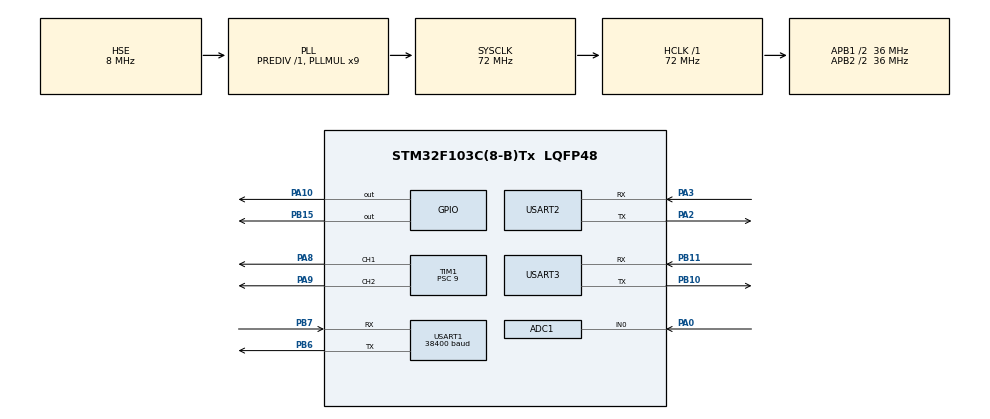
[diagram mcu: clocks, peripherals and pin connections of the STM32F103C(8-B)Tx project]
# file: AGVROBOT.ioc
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ADC1.Channel-2\#ChannelRegularConversion=ADC_CHANNEL_0
ADC1.ContinuousConvMode=ENABLE
ADC1.NbrOfConversionFlag=1
ADC1.Rank-2\#ChannelRegularConversion=1
ADC1.SamplingTime-2\#ChannelRegularConversion=ADC_SAMPLETIME_239CYCLES_5
ADC1.master=1
Dma.ADC1.3.Direction=DMA_PERIPH_TO_MEMORY
Dma.ADC1.3.Instance=DMA1_Channel1
Dma.ADC1.3.MemDataAlignment=DMA_MDATAALIGN_HALFWORD
Dma.ADC1.3.MemInc=DMA_MINC_ENABLE
Dma.ADC1.3.Mode=DMA_CIRCULAR
Dma.ADC1.3.PeriphDataAlignment=DMA_PDATAALIGN_HALFWORD
Dma.ADC1.3.PeriphInc=DMA_PINC_DISABLE
Dma.ADC1.3.Priority=DMA_PRIORITY_LOW
Dma.Request0=USART1_RX
Dma.Request1=USART2_RX
Dma.Request2=USART3_RX
Dma.Request3=ADC1
Dma.USART1_RX.0.Direction=DMA_PERIPH_TO_MEMORY
Dma.USART1_RX.0.Instance=DMA1_Channel5
Dma.USART1_RX.0.MemDataAlignment=DMA_MDATAALIGN_BYTE
Dma.USART1_RX.0.MemInc=DMA_MINC_ENABLE
Dma.USART1_RX.0.Mode=DMA_CIRCULAR
Dma.USART1_RX.0.PeriphDataAlignment=DMA_PDATAALIGN_BYTE
Dma.USART1_RX.0.PeriphInc=DMA_PINC_DISABLE
Dma.USART1_RX.0.Priority=DMA_PRIORITY_LOW
Dma.USART2_RX.1.Direction=DMA_PERIPH_TO_MEMORY
Dma.USART2_RX.1.Instance=DMA1_Channel6
Dma.USART2_RX.1.MemDataAlignment=DMA_MDATAALIGN_BYTE
Dma.USART2_RX.1.MemInc=DMA_MINC_ENABLE
Dma.USART2_RX.1.Mode=DMA_CIRCULAR
Dma.USART2_RX.1.PeriphDataAlignment=DMA_PDATAALIGN_BYTE
Dma.USART2_RX.1.PeriphInc=DMA_PINC_DISABLE
Dma.USART2_RX.1.Priority=DMA_PRIORITY_LOW
Dma.USART3_RX.2.Direction=DMA_PERIPH_TO_MEMORY
Dma.USART3_RX.2.Instance=DMA1_Channel3
Dma.USART3_RX.2.MemDataAlignment=DMA_MDATAALIGN_BYTE
Dma.USART3_RX.2.MemInc=DMA_MINC_ENABLE
Dma.USART3_RX.2.Mode=DMA_CIRCULAR
Dma.USART3_RX.2.PeriphDataAlignment=DMA_PDATAALIGN_BYTE
Dma.USART3_RX.2.PeriphInc=DMA_PINC_DISABLE
Dma.USART3_RX.2.Priority=DMA_PRIORITY_LOW
Mcu.Family=STM32F1
Mcu.Name=STM32F103C(8-B)Tx
Mcu.Package=LQFP48
NVIC.DMA1_Channel1_IRQn=true\:0\:0\:false\:false\:true\:false\:true
NVIC.DMA1_Channel3_IRQn=true\:0\:0\:false\:false\:true\:false\:true
NVIC.DMA1_Channel5_IRQn=true\:0\:0\:false\:false\:true\:false\:true
NVIC.DMA1_Channel6_IRQn=true\:0\:0\:false\:false\:true\:false\:true
NVIC.PriorityGroup=NVIC_PRIORITYGROUP_4
NVIC.TIM2_IRQn=true\:0\:0\:false\:false\:true\:true\:true
NVIC.TIM3_IRQn=true\:0\:0\:false\:false\:true\:true\:true
NVIC.USART1_IRQn=true\:0\:0\:false\:false\:true\:true\:true
NVIC.USART2_IRQn=true\:0\:0\:false\:false\:true\:true\:true
NVIC.USART3_IRQn=true\:0\:0\:false\:false\:true\:true\:true
PA0-WKUP.Signal=ADCx_IN0
PA10.GPIO_ModeDefaultOutputPP=GPIO_MODE_OUTPUT_OD
PA10.GPIO_PuPd=GPIO_NOPULL
PA10.GPIO_Speed=GPIO_SPEED_FREQ_HIGH
PA10.PinState=GPIO_PIN_RESET
PA10.Signal=GPIO_Output
PA13.Mode=Serial_Wire
PA13.Signal=SYS_JTMS-SWDIO
PA14.Mode=Serial_Wire
PA14.Signal=SYS_JTCK-SWCLK
PA2.Mode=Asynchronous
PA2.Signal=USART2_TX
PA3.Mode=Asynchronous
PA3.Signal=USART2_RX
PA8.Signal=S_TIM1_CH1
PA9.Signal=S_TIM1_CH2
PB10.Mode=Asynchronous
PB10.Signal=USART3_TX
PB11.Mode=Asynchronous
PB11.Signal=USART3_RX
PB15.GPIO_ModeDefaultOutputPP=GPIO_MODE_OUTPUT_OD
PB15.GPIO_PuPd=GPIO_NOPULL
PB15.GPIO_Speed=GPIO_SPEED_FREQ_HIGH
PB15.PinState=GPIO_PIN_RESET
PB15.Signal=GPIO_Output
PB6.Mode=Asynchronous
PB6.Signal=USART1_TX
PB7.Mode=Asynchronous
PB7.Signal=USART1_RX
PD0-OSC_IN.Mode=HSE-External-Oscillator
PD0-OSC_IN.Signal=RCC_OSC_IN
PD1-OSC_OUT.Mode=HSE-External-Oscillator
PD1-OSC_OUT.Signal=RCC_OSC_OUT
ProjectManager.HeapSize=0x200
ProjectManager.StackSize=0x400
ProjectManager.TargetToolchain=EWARM V8.32
RCC.ADCPresc=RCC_ADCPCLK2_DIV4
RCC.AHBFreq_Value=72000000
RCC.APB1CLKDivider=RCC_HCLK_DIV2
RCC.APB1Freq_Value=36000000
RCC.APB1TimFreq_Value=72000000
RCC.APB2CLKDivider=RCC_HCLK_DIV2
RCC.APB2Freq_Value=36000000
RCC.APB2TimFreq_Value=72000000
RCC.HCLKFreq_Value=72000000
RCC.PLLMUL=RCC_PLL_MUL9
RCC.PLLSourceVirtual=RCC_PLLSOURCE_HSE
RCC.SYSCLKFreq_VALUE=72000000
RCC.SYSCLKSource=RCC_SYSCLKSOURCE_PLLCLK
RCC.USBFreq_Value=72000000
SH.ADCx_IN0.0=ADC1_IN0,IN0
SH.S_TIM1_CH1.0=TIM1_CH1,PWM Generation1 CH1
SH.S_TIM1_CH2.0=TIM1_CH2,PWM Generation2 CH2
TIM1.Channel-PWM\ Generation1\ CH1=TIM_CHANNEL_1
TIM1.Channel-PWM\ Generation2\ CH2=TIM_CHANNEL_2
TIM1.Period=1000
TIM1.Prescaler=9
TIM2.Period=9999
TIM2.Prescaler=72
TIM3.Period=999
TIM3.Prescaler=72
USART1.BaudRate=38400
USART1.VirtualMode=VM_ASYNC
USART2.VirtualMode=VM_ASYNC
USART3.VirtualMode=VM_ASYNC
VP_TIM1_VS_ClockSourceINT.Mode=Internal
VP_TIM2_VS_ClockSourceINT.Mode=Internal
VP_TIM3_VS_ClockSourceINT.Mode=Internal
board=custom

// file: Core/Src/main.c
/* USER CODE BEGIN Header */
/**
  ******************************************************************************
  * @file           : main.c
  * @brief          : Main program body
  ******************************************************************************
  * @attention
  *
  * <h2><center>&copy; Copyright (c) 2021 STMicroelectronics.
  * All rights reserved.</center></h2>
  *
  * This software component is licensed by ST under BSD 3-Clause license,
  * the "License"; You may not use this file except in compliance with the
  * License. You may obtain a copy of the License at:
  *                        opensource.org/licenses/BSD-3-Clause
  *
  ******************************************************************************
  */
/* USER CODE END Header */
#include "main.h"

/* USER CODE BEGIN Includes */
#include "stdio.h"
#include "stdbool.h"
#include "stdint.h"
#include "stdlib.h"
#include "math.h"

#define DUONG_A         HAL_GPIO_WritePin(GPIOB,GPIO_PIN_15,GPIO_PIN_SET)
#define AM_A            HAL_GPIO_WritePin(GPIOB,GPIO_PIN_15,GPIO_PIN_RESET)
#define DUONG_B         HAL_GPIO_WritePin(GPIOA,GPIO_PIN_10,GPIO_PIN_SET)
#define AM_B            HAL_GPIO_WritePin(GPIOA,GPIO_PIN_10,GPIO_PIN_RESET)
#define PWMA(x)         __HAL_TIM_SET_COMPARE(&htim1,TIM_CHANNEL_1,x)
#define PWMB(y)         __HAL_TIM_SET_COMPARE(&htim1,TIM_CHANNEL_2,y)

#define STOP 0
#define START 1
/* USER CODE END Includes */

/* USER CODE BEGIN PM */
//bien van toc
float va=0.0,vb=0.0,vnow=0.0,v=0.0,vout=0.0,omega;
//bien gia toc
float acc;
float dcc;
float t;
//bien la ban mpu6050
char send_data='a';
int16_t angleMpu;
uint8_t mpu[10];
uint8_t mpu_send,flag=1;
//bien FIX goc
int limitSpeed=100;
float vqMpu,vq,speedW,speedWout;
float fix,val;
int16_t E_angle,E,delta;
uint8_t vv=0;
int16_t temp_mpu;
//pid
//float Kp=0.3,Ki,Kd=0.05;
//float PidOut, PidLastOut;
float T = 0.01;
//bien goc
int16_t angleRobot;
bool k=false;
//bien ps2
uint8_t data[7],RX,RY,LX,LY;
//bien truyen nhan data Pi 4
uint8_t send_pi[10];
uint8_t receive_pi[11];
// mode run
uint8_t moderun;
bool DONE=false;
bool RUN=false;
bool HOME=false;
uint8_t tt=0;
//button from web
uint8_t ButtonStart=0,ButtonStop=0,ButtonHome=0;
//bien Position
uint16_t Position=11;
typedef struct
{
  uint8_t X;
  uint8_t Y;
} position;
position Pos_Tar,Pos_Cur;
uint16_t Pos=11;
bool Axis;
int16_t Delta_Pos;
uint8_t divvv;
//bien adc
uint32_t adc;
bool people=false;
//bien reset arm
uint8_t rst;
//bien check timer
int tim2,tim3;
int ccccc=0;
/* USER CODE END PM */

ADC_HandleTypeDef hadc1;
DMA_HandleTypeDef hdma_adc1;

TIM_HandleTypeDef htim1;
TIM_HandleTypeDef htim2;
TIM_HandleTypeDef htim3;

UART_HandleTypeDef huart1;
UART_HandleTypeDef huart2;
UART_HandleTypeDef huart3;
DMA_HandleTypeDef hdma_usart1_rx;
DMA_HandleTypeDef hdma_usart2_rx;
DMA_HandleTypeDef hdma_usart3_rx;

void SystemClock_Config(void);
static void MX_GPIO_Init(void);
static void MX_TIM2_Init(void);
static void MX_TIM3_Init(void);
static void MX_TIM1_Init(void);
static void MX_USART1_UART_Init(void);
static void MX_USART2_UART_Init(void);
static void MX_DMA_Init(void);
static void MX_USART3_UART_Init(void);
static void MX_ADC1_Init(void);
/* USER CODE BEGIN PFP */
void rstArm(void);
void pwm_gen(void);
void acceleration(void);
void angleFix(int _limitSpeed, int16_t a_want);
float acceleration_Rotate(float _v,float _accW,float _dccW,float _T);
void run_main(void);
void robotRotate(int16_t aRobot);
void robotRun(float vRun,float _acc, float _dcc, float _t);
void robotLock(void);
void control_ps2(void);
void robotRunMap(float vRun, float dccRun, uint8_t X_tar, uint8_t Y_tar, uint8_t X_cur, uint8_t Y_cur);
/* USER CODE END PFP */

/* USER CODE BEGIN 0 */
void rstArm(void)
{
  if(rst==1)SCB->AIRCR=0x05FA<<16|0x04;
  rst=0;
}
void pwm_gen(void)
{
  if(va>0)DUONG_A;
  else AM_A;

  if(vb>0) DUONG_B;
  else AM_B;

  PWMA((uint16_t)fabs(va));
  PWMB((uint16_t)fabs(vb));
}
void acceleration(void)
{
  if(vnow<v)
  {
    vout=acc*t;
    t+=0.01;
    vnow+=vout;
    if(vnow>v)
    {
      vnow=v;
      t=0;
      vout=0;
    }
  }
  if(vnow>v)
  {
    vout=dcc*t;
    t+=0.01;
    vnow-=vout;
    if(vnow<v)
    {
      vnow=v;
      t=0;
      vout=0;
    }
  }
}
//void angleFix(int _limitSpeed, int16_t a_want)
//{
//  int16_t pos_nega, temp;
//  delta = a_want - (angleMpu);
//
////  if(E_angle>2600)E=900;
////  else if(E_angle<-2600)E=-900;
////  else E=E_angle;
//
//  if(delta>0){
//      pos_nega= (delta+1800)/3600;
//      E_angle=delta- (3600*pos_nega);
//  }
//  else{
//      temp=((int16_t)fabs(delta)+ 1800);
//      pos_nega=temp/3600;
//      E_angle=delta+ (3600*pos_nega);
//  }
//  if(fabs(E_angle)>100) fix=4;
//  else if(fabs(E_angle)>50) fix = 3;
//  else if(fabs(E_angle)>25) fix = 2;
//  else if(fabs(E_angle)>10) fix = 1.5;
//
//  vqMpu = fix*E_angle;
//
//  if(vqMpu > _limitSpeed)
//  {
//    vqMpu = _limitSpeed;
//  }
//  if(vqMpu < -_limitSpeed)
//  {
//    vqMpu = -_limitSpeed;
//  }
//}
void angleFix(int _limitSpeed, int16_t a_want)
{
  E_angle = a_want - (angleMpu);

//  if(E_angle>2600)E=900;
//  else if(E_angle<-2600)E=-900;
//  else E=E_angle;

  if(fabs(E_angle)>100) fix=3;
  else if(fabs(E_angle)>50) fix = 2;
  else if(fabs(E_angle)>25) fix = 0.9;
  else fix=1.5;

  vqMpu = fix*E_angle;

  if(vqMpu > _limitSpeed)
  {
    vqMpu = _limitSpeed;
  }
  if(vqMpu < -_limitSpeed)
  {
    vqMpu = -_limitSpeed;
  }
}
float acceleration_Rotate(float _v,float _accW,float _dccW,float _T)
{
  if(fabs(_v)>50)vv=1;
  else vv=2;
  if (_v != speedW)
  {
    if(vv==1)
    {
      if(speedW<_v)
      {
        speedWout=_accW*_T;
        speedW+=speedWout;
        _T+=0.01;
        if(speedW>_v)
        {
          _T=0;
          speedWout=0;
        }
      }
      else
      {
        speedWout=_dccW*_T;
        speedW+=speedWout;
        _T+=0.01;
        if(speedW<_v)
        {
          _T=0;
          speedWout=0;
        }
      }
    }
    if(vv==2)
    {
      if (_v > speedW) speedW += _accW;
      else speedW += _dccW;
    }
  }
  return speedW;
}
void run_main(void)
{
  if(k==true)angleFix(limitSpeed, angleRobot);
  else vqMpu=0;

  if(fabs(vqMpu)>75) val=1.5;
  else if(fabs(vqMpu)>50) val = 0.9;
  else if(fabs(vqMpu)>25) val = 0.5;
  else val=0.3;

  vq=acceleration_Rotate(vqMpu,val,-val,0.005);

  acceleration();

  va=vnow-vq;
  vb=vnow+vq;

  pwm_gen();
}
void robotRotate(int16_t aRobot)
{
  //k=true;
  angleRobot=aRobot;
}
void robotRun(float vRun,float _acc, float _dcc, float _t)
{
  //k=false;
  if(people==true){
    v=2;
    acc=_acc;
    dcc=_dcc;
    t=_t;
    robotRotate(angleRobot);
  }
  else {
//    if((int16_t)fabs(angleMpu)>30)k=true;
//    else k=false;
    v=vRun;
    acc=_acc;
    dcc=_dcc;
    t=_t;
    robotRotate(angleRobot);
  }
}
void robotLock(void)
{
  robotRun(2,6,2,0.01);
  robotRotate(angleRobot);
}
void robotRunMap(float vRun, float dccRun, uint8_t X_tar, uint8_t Y_tar, uint8_t X_cur, uint8_t Y_cur)
{
  //static uint8_t dem=0;
  static uint8_t step=0;
    //========= Button Stop =============//
  if(ButtonStop==1)
  {
    RUN=STOP;
    DONE=true;
    step=0;
  }
  if(step==0)
  {
    if(ButtonStart==1|ButtonHome==1) RUN=START;
    if(RUN==START)
    {
      step=1;
      DONE=false;
    }
    else robotLock();
  }
  if(step==1&&DONE==false)
  {
    if(Y_tar!=Y_cur)
    {
      Delta_Pos = Y_tar - Y_cur;
      if(Delta_Pos>0)
      {
        if(angleMpu<80&&angleMpu>-20)
        {
          k=false;
          robotRun(vRun,6,dccRun,0.01);
        }
        else
        {
          k=true;
          robotRotate(30);
        }
      }
      else
      {
        if(temp_mpu<1870&&temp_mpu>1770)
        {
          k=false;
          robotRun(vRun,6,dccRun,0.01);
        }
        else
        {
          k=true;
          robotRotate(1820);
          tt=0;
        }
      }
    }
    else step=2;
  }
  if(step==2)
  {
    robotRun(2,6,dccRun,0.01);
    if(vnow==2&&Y_cur==Y_tar)step=3;
  }
  if(step==3)
  {
    if(X_tar!=X_cur)
    {
      Delta_Pos = X_tar - X_cur;
      if(Delta_Pos>0)
      {
        if(temp_mpu<950&&temp_mpu>850)
        {
          k=false;
          robotRun(vRun,6,dccRun,0.01);
        }
        else
        {
          k=true;
          robotRotate(-900);
        }
      }
      else
      {
        if(temp_mpu<990&&temp_mpu>890)
        {
          k=false;
          robotRun(vRun,6,dccRun,0.01);
        }
        else
        {
          k=true;
          robotRotate(940);
        }
      }
    }
    else step=4;
  }
  if(step==4)
  {
    robotRun(2,6,dccRun,0.01);
    if(vnow==2&&X_cur==X_tar)step=5;
  }
  if(step==5)
  {
    if(X_tar == X_cur&&Y_tar==Y_cur)
    {
//      if(X_cur==1&&Y_cur==1){
//        step=6;
//      }
      DONE=true;
      RUN=STOP;
    }
    else
    {
      step=1;
      DONE=false;
    }
  }
//  if(step==6){
//    k=true;
//    robotRotate(0);
//    if(angleMpu<-3550&&angleMpu>-3650)
//    {
//      HAL_Delay(1000);
//      step=7;
//    }
//  }
//  if(step==7){
//    flag=0;
//    HAL_Delay(200);
//    //rst=1;
//    flag=1;
//    step=8;
//  }
//  if(step==8){
//    if(X_tar == X_cur&&Y_tar==Y_cur)
//    {
//      DONE=true;
//      RUN=STOP;
//    }
//    else
//    {
//      step=1;
//      DONE=false;
//    }
//  }
}
void robotRunHome(float vRun, float dccRun)
{
  robotRunMap(vRun,dccRun,1,1,Pos_Cur.X,Pos_Cur.Y);
  if(Pos_Tar.X == Pos_Cur.X&&Pos_Tar.Y==Pos_Cur.Y) HOME=false;
}
//void control_ps2(void)
//{
//  if(data[0]==1)
//  {
//      if(LX==128&&LY==128&&RX==128&&RY==128){robotLock();}
//      else
//      {
//        if(LY<120) {k=false;robotRun(100,7,30,0.01);}
//        if(LY>130) {k=false;robotRun(-100,7,30,0.01);}
//
//        if(RX<120) {k=true;robotRotate(900);}
//        if(RX>130) {k=true;robotRotate(-900);}
//        if(RY<120) {k=true;robotRotate(0);}
//        if(RY>130) {k=true;robotRotate(1840);}
//      }
//  }
//}
void HAL_TIM_PeriodElapsedCallback(TIM_HandleTypeDef *htim)
{
  if(htim->Instance==htim2.Instance)
  {
    //tim2++;
    //============ truyen nhan data PS2 =============//
    if(data[0]!=1)
    {
      HAL_UART_DMAStop(&huart1);
      HAL_UART_Receive_DMA(&huart1,data,7);
    }
    RX=data[3];
    RY=data[4];
    LX=data[5];
    LY=data[6];
    //============ truyen nhan data MPU6050 =============//
    if(flag==1) send_data='z';
    else send_data ='a';
    HAL_UART_Transmit_IT(&huart2,(uint8_t *)&send_data,1);
    angleMpu=mpu[0]<<8|mpu[1];
     //============ truyen nhan data Pi =============//
    HAL_UART_Transmit_IT(&huart3,(uint8_t*)&send_pi,sizeof(send_pi));
    HAL_UART_Receive_DMA(&huart3,(uint8_t*)receive_pi,sizeof(receive_pi));
    if(receive_pi[0]!=0x46|receive_pi[0]!=0x45)
    {
      HAL_UART_DMAStop(&huart3);
      HAL_UART_Receive_DMA(&huart3,(uint8_t*)receive_pi,sizeof(receive_pi));
    }
    if(receive_pi[0]==0x45&&receive_pi[10]==0x45){
      ButtonHome=receive_pi[1]-0x30;
      ButtonStart=receive_pi[2]-0x30;
      ButtonStop=receive_pi[3]-0x30;
      Pos_Tar.X=receive_pi[7]-0x30;
      Pos_Tar.Y=receive_pi[9]-0x30;
    }
    if(receive_pi[0]==0x46&&receive_pi[10]==0x46){
      Pos_Cur.X = receive_pi[4]-0x30;
      Pos_Cur.Y = receive_pi[6]-0x30;
    }
  }
  if(htim->Instance==htim3.Instance)
  {
    //tim3++;
    if(adc<20)people=true;
    else people=false;
    run_main();
    rstArm();
    temp_mpu = ((int16_t)fabs(angleMpu));
    //control_ps2();
  }
}
/* USER CODE END 0 */

int main(void)
{

  /* MCU Configuration--------------------------------------------------------*/

  /* Reset of all peripherals, Initializes the Flash interface and the Systick. */
  HAL_Init();

  /* Configure the system clock */
  SystemClock_Config();

  /* USER CODE BEGIN SysInit */
//  MX_GPIO_Init();
//  MX_DMA_Init();
//  MX_TIM1_Init();
//  MX_USART1_UART_Init();
//  MX_TIM2_Init();
//  MX_TIM3_Init();
//  MX_USART2_UART_Init();
//  MX_USART3_UART_Init();
  /* USER CODE END SysInit */

  /* Initialize all configured peripherals */
  MX_GPIO_Init();
  MX_DMA_Init();
  MX_TIM1_Init();
  MX_USART1_UART_Init();
  MX_TIM2_Init();
  MX_TIM3_Init();
  MX_USART2_UART_Init();
  MX_USART3_UART_Init();
  MX_ADC1_Init();
  /* USER CODE BEGIN 2 */

  HAL_TIM_PWM_Start(&htim1,TIM_CHANNEL_1);
  HAL_TIM_PWM_Start(&htim1,TIM_CHANNEL_2);

  HAL_TIM_Base_Start_IT(&htim2);
  HAL_TIM_Base_Start_IT(&htim3);

  HAL_UART_Receive_DMA(&huart1,(uint8_t*)data,7);
  HAL_UART_Receive_DMA(&huart2,(uint8_t*)mpu,10);

  HAL_UART_Transmit_IT(&huart3,(uint8_t*)&send_pi,sizeof(send_pi));
  HAL_UART_Receive_DMA(&huart3,(uint8_t*)receive_pi,sizeof(receive_pi));

  HAL_ADC_Start_DMA(&hadc1,&adc,1);

  /* USER CODE END 2 */

  /* Infinite loop */
  while (1)
  {

    /* USER CODE BEGIN 3 */
//    static uint8_t kk=0;
//    if(data[1]==128)kk=1;
//    if(data[1]==32)kk=0;
//    if(kk==1){
//      robotAuto();
//    }
//    if(kk==0){
//      robotLock();
//    }
    if(ButtonHome==false) robotRunMap(50,1.8,Pos_Tar.X,Pos_Tar.Y,Pos_Cur.X,Pos_Cur.Y);
    else robotRunHome(50,2.0);
    //HAL_Delay(2);
  }
  /* USER CODE END 3 */
}

void SystemClock_Config(void)
{
  RCC_OscInitTypeDef RCC_OscInitStruct = {0};
  RCC_ClkInitTypeDef RCC_ClkInitStruct = {0};
  RCC_PeriphCLKInitTypeDef PeriphClkInit = {0};

  /** Initializes the RCC Oscillators according to the specified parameters
  * in the RCC_OscInitTypeDef structure.
  */
  RCC_OscInitStruct.OscillatorType = RCC_OSCILLATORTYPE_HSE;
  RCC_OscInitStruct.HSEState = RCC_HSE_ON;
  RCC_OscInitStruct.HSEPredivValue = RCC_HSE_PREDIV_DIV1;
  RCC_OscInitStruct.HSIState = RCC_HSI_ON;
  RCC_OscInitStruct.PLL.PLLState = RCC_PLL_ON;
  RCC_OscInitStruct.PLL.PLLSource = RCC_PLLSOURCE_HSE;
  RCC_OscInitStruct.PLL.PLLMUL = RCC_PLL_MUL9;
  if (HAL_RCC_OscConfig(&RCC_OscInitStruct) != HAL_OK)
  {
    Error_Handler();
  }
  /** Initializes the CPU, AHB and APB buses clocks
  */
  RCC_ClkInitStruct.ClockType = RCC_CLOCKTYPE_HCLK|RCC_CLOCKTYPE_SYSCLK
                              |RCC_CLOCKTYPE_PCLK1|RCC_CLOCKTYPE_PCLK2;
  RCC_ClkInitStruct.SYSCLKSource = RCC_SYSCLKSOURCE_PLLCLK;
  RCC_ClkInitStruct.AHBCLKDivider = RCC_SYSCLK_DIV1;
  RCC_ClkInitStruct.APB1CLKDivider = RCC_HCLK_DIV2;
  RCC_ClkInitStruct.APB2CLKDivider = RCC_HCLK_DIV2;

  if (HAL_RCC_ClockConfig(&RCC_ClkInitStruct, FLASH_LATENCY_2) != HAL_OK)
  {
    Error_Handler();
  }
  PeriphClkInit.PeriphClockSelection = RCC_PERIPHCLK_ADC;
  PeriphClkInit.AdcClockSelection = RCC_ADCPCLK2_DIV4;
  if (HAL_RCCEx_PeriphCLKConfig(&PeriphClkInit) != HAL_OK)
  {
    Error_Handler();
  }
}

static void MX_ADC1_Init(void)
{

  ADC_ChannelConfTypeDef sConfig = {0};

  /** Common config
  */
  hadc1.Instance = ADC1;
  hadc1.Init.ScanConvMode = ADC_SCAN_DISABLE;
  hadc1.Init.ContinuousConvMode = ENABLE;
  hadc1.Init.DiscontinuousConvMode = DISABLE;
  hadc1.Init.ExternalTrigConv = ADC_SOFTWARE_START;
  hadc1.Init.DataAlign = ADC_DATAALIGN_RIGHT;
  hadc1.Init.NbrOfConversion = 1;
  if (HAL_ADC_Init(&hadc1) != HAL_OK)
  {
    Error_Handler();
  }
  /** Configure Regular Channel
  */
  sConfig.Channel = ADC_CHANNEL_0;
  sConfig.Rank = ADC_REGULAR_RANK_1;
  sConfig.SamplingTime = ADC_SAMPLETIME_239CYCLES_5;
  if (HAL_ADC_ConfigChannel(&hadc1, &sConfig) != HAL_OK)
  {
    Error_Handler();
  }

}

static void MX_TIM1_Init(void)
{

  TIM_ClockConfigTypeDef sClockSourceConfig = {0};
  TIM_MasterConfigTypeDef sMasterConfig = {0};
  TIM_OC_InitTypeDef sConfigOC = {0};
  TIM_BreakDeadTimeConfigTypeDef sBreakDeadTimeConfig = {0};

  htim1.Instance = TIM1;
  htim1.Init.Prescaler = 9;
  htim1.Init.CounterMode = TIM_COUNTERMODE_UP;
  htim1.Init.Period = 1000;
  htim1.Init.ClockDivision = TIM_CLOCKDIVISION_DIV1;
  htim1.Init.RepetitionCounter = 0;
  htim1.Init.AutoReloadPreload = TIM_AUTORELOAD_PRELOAD_DISABLE;
  if (HAL_TIM_Base_Init(&htim1) != HAL_OK)
  {
    Error_Handler();
  }
  sClockSourceConfig.ClockSource = TIM_CLOCKSOURCE_INTERNAL;
  if (HAL_TIM_ConfigClockSource(&htim1, &sClockSourceConfig) != HAL_OK)
  {
    Error_Handler();
  }
  if (HAL_TIM_PWM_Init(&htim1) != HAL_OK)
  {
    Error_Handler();
  }
  sMasterConfig.MasterOutputTrigger = TIM_TRGO_RESET;
  sMasterConfig.MasterSlaveMode = TIM_MASTERSLAVEMODE_DISABLE;
  if (HAL_TIMEx_MasterConfigSynchronization(&htim1, &sMasterConfig) != HAL_OK)
  {
    Error_Handler();
  }
  sConfigOC.OCMode = TIM_OCMODE_PWM1;
  sConfigOC.Pulse = 0;
  sConfigOC.OCPolarity = TIM_OCPOLARITY_HIGH;
  sConfigOC.OCNPolarity = TIM_OCNPOLARITY_HIGH;
  sConfigOC.OCFastMode = TIM_OCFAST_DISABLE;
  sConfigOC.OCIdleState = TIM_OCIDLESTATE_RESET;
  sConfigOC.OCNIdleState = TIM_OCNIDLESTATE_RESET;
  if (HAL_TIM_PWM_ConfigChannel(&htim1, &sConfigOC, TIM_CHANNEL_1) != HAL_OK)
  {
    Error_Handler();
  }
  if (HAL_TIM_PWM_ConfigChannel(&htim1, &sConfigOC, TIM_CHANNEL_2) != HAL_OK)
  {
    Error_Handler();
  }
  sBreakDeadTimeConfig.OffStateRunMode = TIM_OSSR_DISABLE;
  sBreakDeadTimeConfig.OffStateIDLEMode = TIM_OSSI_DISABLE;
  sBreakDeadTimeConfig.LockLevel = TIM_LOCKLEVEL_OFF;
  sBreakDeadTimeConfig.DeadTime = 0;
  sBreakDeadTimeConfig.BreakState = TIM_BREAK_DISABLE;
  sBreakDeadTimeConfig.BreakPolarity = TIM_BREAKPOLARITY_HIGH;
  sBreakDeadTimeConfig.AutomaticOutput = TIM_AUTOMATICOUTPUT_DISABLE;
  if (HAL_TIMEx_ConfigBreakDeadTime(&htim1, &sBreakDeadTimeConfig) != HAL_OK)
  {
    Error_Handler();
  }
  HAL_TIM_MspPostInit(&htim1);

}

static void MX_TIM2_Init(void)
{

  TIM_ClockConfigTypeDef sClockSourceConfig = {0};
  TIM_MasterConfigTypeDef sMasterConfig = {0};

  htim2.Instance = TIM2;
  htim2.Init.Prescaler = 72;
  htim2.Init.CounterMode = TIM_COUNTERMODE_UP;
  htim2.Init.Period = 9999;
  htim2.Init.ClockDivision = TIM_CLOCKDIVISION_DIV1;
  htim2.Init.AutoReloadPreload = TIM_AUTORELOAD_PRELOAD_DISABLE;
  if (HAL_TIM_Base_Init(&htim2) != HAL_OK)
  {
    Error_Handler();
  }
  sClockSourceConfig.ClockSource = TIM_CLOCKSOURCE_INTERNAL;
  if (HAL_TIM_ConfigClockSource(&htim2, &sClockSourceConfig) != HAL_OK)
  {
    Error_Handler();
  }
  sMasterConfig.MasterOutputTrigger = TIM_TRGO_RESET;
  sMasterConfig.MasterSlaveMode = TIM_MASTERSLAVEMODE_DISABLE;
  if (HAL_TIMEx_MasterConfigSynchronization(&htim2, &sMasterConfig) != HAL_OK)
  {
    Error_Handler();
  }

}

static void MX_TIM3_Init(void)
{

  TIM_ClockConfigTypeDef sClockSourceConfig = {0};
  TIM_MasterConfigTypeDef sMasterConfig = {0};

  htim3.Instance = TIM3;
  htim3.Init.Prescaler = 72;
  htim3.Init.CounterMode = TIM_COUNTERMODE_UP;
  htim3.Init.Period = 999;
  htim3.Init.ClockDivision = TIM_CLOCKDIVISION_DIV1;
  htim3.Init.AutoReloadPreload = TIM_AUTORELOAD_PRELOAD_DISABLE;
  if (HAL_TIM_Base_Init(&htim3) != HAL_OK)
  {
    Error_Handler();
  }
  sClockSourceConfig.ClockSource = TIM_CLOCKSOURCE_INTERNAL;
  if (HAL_TIM_ConfigClockSource(&htim3, &sClockSourceConfig) != HAL_OK)
  {
    Error_Handler();
  }
  sMasterConfig.MasterOutputTrigger = TIM_TRGO_RESET;
  sMasterConfig.MasterSlaveMode = TIM_MASTERSLAVEMODE_DISABLE;
  if (HAL_TIMEx_MasterConfigSynchronization(&htim3, &sMasterConfig) != HAL_OK)
  {
    Error_Handler();
  }

}

static void MX_USART1_UART_Init(void)
{

  huart1.Instance = USART1;
  huart1.Init.BaudRate = 38400;
  huart1.Init.WordLength = UART_WORDLENGTH_8B;
  huart1.Init.StopBits = UART_STOPBITS_1;
  huart1.Init.Parity = UART_PARITY_NONE;
  huart1.Init.Mode = UART_MODE_TX_RX;
  huart1.Init.HwFlowCtl = UART_HWCONTROL_NONE;
  huart1.Init.OverSampling = UART_OVERSAMPLING_16;
  if (HAL_UART_Init(&huart1) != HAL_OK)
  {
    Error_Handler();
  }

}

static void MX_USART2_UART_Init(void)
{

  huart2.Instance = USART2;
  huart2.Init.BaudRate = 115200;
  huart2.Init.WordLength = UART_WORDLENGTH_8B;
  huart2.Init.StopBits = UART_STOPBITS_1;
  huart2.Init.Parity = UART_PARITY_NONE;
  huart2.Init.Mode = UART_MODE_TX_RX;
  huart2.Init.HwFlowCtl = UART_HWCONTROL_NONE;
  huart2.Init.OverSampling = UART_OVERSAMPLING_16;
  if (HAL_UART_Init(&huart2) != HAL_OK)
  {
    Error_Handler();
  }

}

static void MX_USART3_UART_Init(void)
{

  huart3.Instance = USART3;
  huart3.Init.BaudRate = 115200;
  huart3.Init.WordLength = UART_WORDLENGTH_8B;
  huart3.Init.StopBits = UART_STOPBITS_1;
  huart3.Init.Parity = UART_PARITY_NONE;
  huart3.Init.Mode = UART_MODE_TX_RX;
  huart3.Init.HwFlowCtl = UART_HWCONTROL_NONE;
  huart3.Init.OverSampling = UART_OVERSAMPLING_16;
  if (HAL_UART_Init(&huart3) != HAL_OK)
  {
    Error_Handler();
  }

}

static void MX_DMA_Init(void)
{

  /* DMA controller clock enable */
  __HAL_RCC_DMA1_CLK_ENABLE();

  /* DMA interrupt init */
  /* DMA1_Channel1_IRQn interrupt configuration */
  HAL_NVIC_SetPriority(DMA1_Channel1_IRQn, 0, 0);
  HAL_NVIC_EnableIRQ(DMA1_Channel1_IRQn);
  /* DMA1_Channel3_IRQn interrupt configuration */
  HAL_NVIC_SetPriority(DMA1_Channel3_IRQn, 0, 0);
  HAL_NVIC_EnableIRQ(DMA1_Channel3_IRQn);
  /* DMA1_Channel5_IRQn interrupt configuration */
  HAL_NVIC_SetPriority(DMA1_Channel5_IRQn, 0, 0);
  HAL_NVIC_EnableIRQ(DMA1_Channel5_IRQn);
  /* DMA1_Channel6_IRQn interrupt configuration */
  HAL_NVIC_SetPriority(DMA1_Channel6_IRQn, 0, 0);
  HAL_NVIC_EnableIRQ(DMA1_Channel6_IRQn);

}

static void MX_GPIO_Init(void)
{
  GPIO_InitTypeDef GPIO_InitStruct = {0};

  /* GPIO Ports Clock Enable */
  __HAL_RCC_GPIOD_CLK_ENABLE();
  __HAL_RCC_GPIOA_CLK_ENABLE();
  __HAL_RCC_GPIOB_CLK_ENABLE();

  /*Configure GPIO pin Output Level */
  HAL_GPIO_WritePin(GPIOB, GPIO_PIN_15, GPIO_PIN_RESET);

  /*Configure GPIO pin Output Level */
  HAL_GPIO_WritePin(GPIOA, GPIO_PIN_10, GPIO_PIN_RESET);

  /*Configure GPIO pin : PB15 */
  GPIO_InitStruct.Pin = GPIO_PIN_15;
  GPIO_InitStruct.Mode = GPIO_MODE_OUTPUT_OD;
  GPIO_InitStruct.Pull = GPIO_NOPULL;
  GPIO_InitStruct.Speed = GPIO_SPEED_FREQ_HIGH;
  HAL_GPIO_Init(GPIOB, &GPIO_InitStruct);

  /*Configure GPIO pin : PA10 */
  GPIO_InitStruct.Pin = GPIO_PIN_10;
  GPIO_InitStruct.Mode = GPIO_MODE_OUTPUT_OD;
  GPIO_InitStruct.Pull = GPIO_NOPULL;
  GPIO_InitStruct.Speed = GPIO_SPEED_FREQ_HIGH;
  HAL_GPIO_Init(GPIOA, &GPIO_InitStruct);

}

void Error_Handler(void)
{
  __disable_irq();
  while (1)
  {
  }
}

/************************ (C) COPYRIGHT STMicroelectronics *****END OF FILE****/
